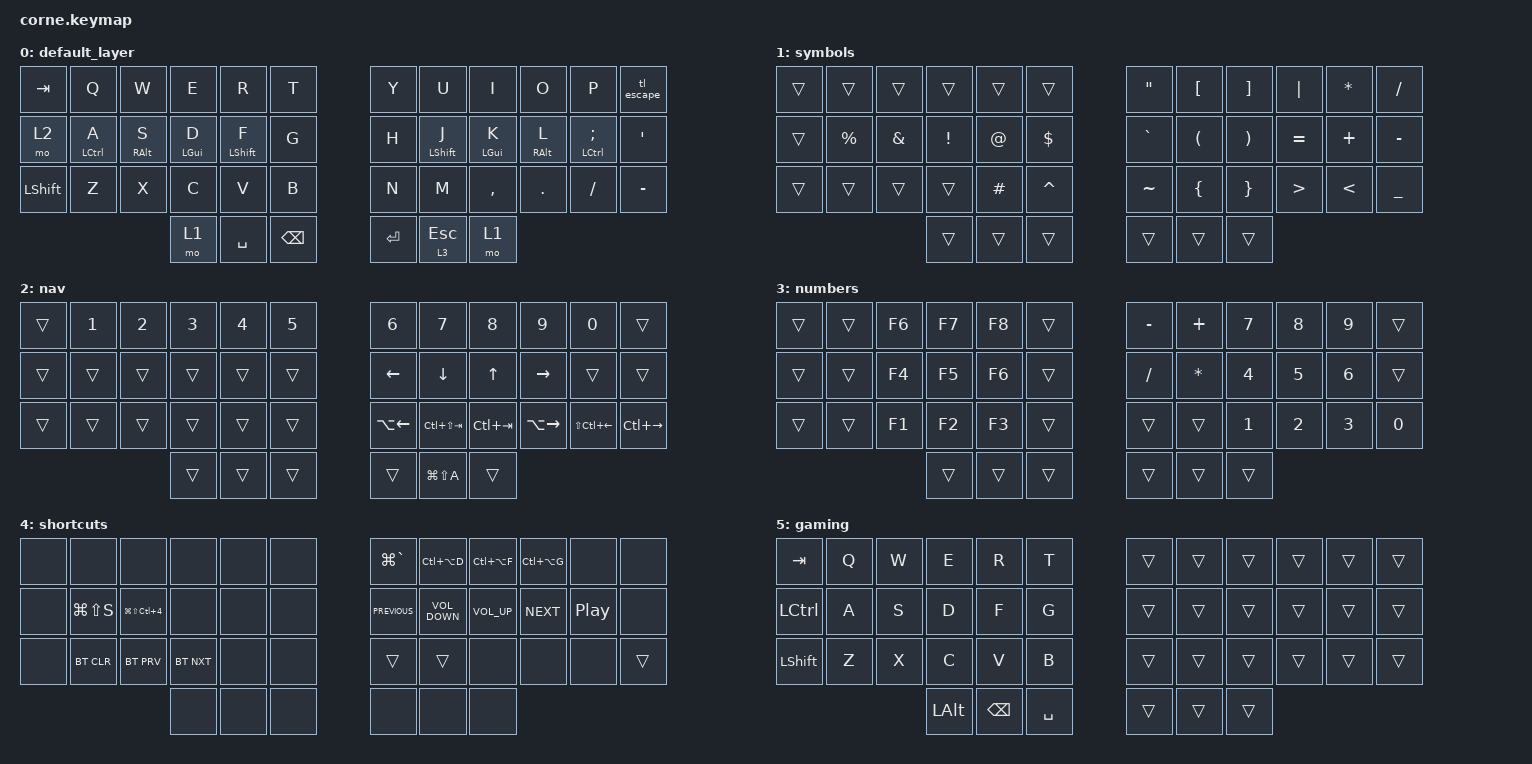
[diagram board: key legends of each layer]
/*
 * Copyright (c) 2020 The ZMK Contributors
 *
 * SPDX-License-Identifier: MIT
 */

#include <behaviors.dtsi>
#include <dt-bindings/zmk/bt.h>
#include <dt-bindings/zmk/keys.h>

/ {
    behaviors {
        hm: homerow_mods {
            compatible = "zmk,behavior-hold-tap";
            #binding-cells = <2>;
            tapping-term-ms = <200>;
            quick-tap-ms = <150>;
            flavor = "tap-preferred";
            bindings = <&kp>, <&kp>;

            require-prior-idle-ms = <150>;
        };

        tl_escape: tl_escape {
            compatible = "zmk,behavior-mod-morph";
            label = "TL_ESCAPE";
            bindings = <&kp ESCAPE>, <&tog 5>;

            #binding-cells = <0>;
            mods = <(MOD_LSFT)>;
        };

        ht_thumbs: ht_thumbs {
            compatible = "zmk,behavior-hold-tap";
            #binding-cells = <2>;
            tapping-term-ms = <200>;
            quick-tap-ms = <150>;
            flavor = "tap-preferred";
            bindings = <&kp>, <&kp>;

            require-prior-idle-ms = <150>;
            label = "HT_THUMBS";
        };

        htmo_thumbs: htmo_thumbs {
            compatible = "zmk,behavior-hold-tap";
            #binding-cells = <2>;
            tapping-term-ms = <150>;
            quick-tap-ms = <100>;
            flavor = "tap-preferred";
            bindings = <&mo>, <&kp>;

            require-prior-idle-ms = <150>;
            label = "HTMO_THUMBS";
        };
    };

    combos {
        compatible = "zmk,combos";

        combo_lp {
            bindings = <&kp LEFT_PARENTHESIS>;
            key-positions = <19 20>;
            require-prior-idle-ms = <100>;
            layers = <0>;
        };

        combo_rp {
            bindings = <&kp RIGHT_PARENTHESIS>;
            key-positions = <20 21>;
            require-prior-idle-ms = <100>;
            layers = <0>;
        };

        combo_lb {
            bindings = <&kp LEFT_BRACKET>;
            key-positions = <31 32>;
            require-prior-idle-ms = <100>;
            layers = <0>;
        };

        combo_rb {
            bindings = <&kp RIGHT_BRACKET>;
            key-positions = <32 33>;
            require-prior-idle-ms = <100>;
            layers = <0>;
        };

        combo_grave {
            bindings = <&kp GRAVE>;
            key-positions = <18 19>;
            require-prior-idle-ms = <100>;
            layers = <0>;
        };

        combo_equal {
            bindings = <&kp EQUAL>;
            key-positions = <19 31>;
            require-prior-idle-ms = <100>;
            layers = <0>;
        };

        combo_gt {
            bindings = <&kp GREATER_THAN>;
            key-positions = <32 20>;
            require-prior-idle-ms = <100>;
            layers = <0>;
        };

        combo_lt {
            bindings = <&kp LESS_THAN>;
            key-positions = <21 33>;
            require-prior-idle-ms = <100>;
            layers = <0>;
        };

        combo_dollar {
            bindings = <&kp DOLLAR>;
            key-positions = <6 7>;
            require-prior-idle-ms = <100>;
            layers = <0>;
        };

        combo_at {
            bindings = <&kp AT>;
            key-positions = <16 17>;
            require-prior-idle-ms = <100>;
            layers = <0>;
        };
    };

    keymap {
        compatible = "zmk,keymap";

        default_layer {
            bindings = <
&kp TAB         &kp Q        &kp W       &kp E           &kp R             &kp T            &kp Y    &kp U                  &kp I           &kp O            &kp P                  &tl_escape
&mo 2           &hm LCTRL A  &hm RALT S  &hm LEFT_GUI D  &hm LEFT_SHIFT F  &kp G            &kp H    &hm LEFT_SHIFT J       &hm LEFT_GUI K  &hm RIGHT_ALT L  &hm LEFT_CONTROL SEMI  &kp SQT
&kp LEFT_SHIFT  &kp Z        &kp X       &kp C           &kp V             &kp B            &kp N    &kp M                  &kp COMMA       &kp DOT          &kp FSLH               &kp MINUS
                                         &mo 1           &kp SPACE         &kp BACKSPACE    &kp RET  &htmo_thumbs 3 ESCAPE  &mo 1
            >;
        };

        symbols {
            bindings = <
&trans  &trans       &trans    &trans    &trans    &trans       &kp DOUBLE_QUOTES  &kp LBKT  &kp RBKT  &kp PIPE          &kp ASTRK      &kp FSLH
&trans  &kp PERCENT  &kp AMPS  &kp EXCL  &kp AT    &kp DLLR     &kp GRAVE          &kp LPAR  &kp RPAR  &kp EQUAL         &kp PLUS       &kp MINUS
&trans  &trans       &trans    &trans    &kp HASH  &kp CARET    &kp TILDE          &kp LBRC  &kp RBRC  &kp GREATER_THAN  &kp LESS_THAN  &kp UNDER
                               &trans    &trans    &trans       &trans             &trans    &trans
            >;
        };

        nav {
            bindings = <
&trans  &kp NUMBER_1  &kp NUMBER_2  &kp NUMBER_3  &kp NUMBER_4  &kp N5    &kp NUMBER_6        &kp N7           &kp N8       &kp N9               &kp N0                  &trans
&trans  &trans        &trans        &trans        &trans        &trans    &kp LEFT            &kp DOWN         &kp UP       &kp RIGHT            &trans                  &trans
&trans  &trans        &trans        &trans        &trans        &trans    &kp LA(LEFT_ARROW)  &kp LC(LS(TAB))  &kp LC(TAB)  &kp LA(RIGHT_ARROW)  &kp LS(LC(LEFT_ARROW))  &kp LC(RIGHT_ARROW)
                                    &trans        &trans        &trans    &trans              &kp LG(LS(A))    &trans
            >;
        };

        numbers {
            bindings = <
&trans  &trans  &kp F6  &kp F7  &kp F8  &trans    &kp MINUS  &kp PLUS   &kp N7        &kp N8        &kp N9        &trans
&trans  &trans  &kp F4  &kp F5  &kp F6  &trans    &kp SLASH  &kp ASTRK  &kp NUMBER_4  &kp N5        &kp NUMBER_6  &trans
&trans  &trans  &kp F1  &kp F2  &kp F3  &trans    &trans     &trans     &kp NUMBER_1  &kp NUMBER_2  &kp NUMBER_3  &kp N0
                        &trans  &trans  &trans    &trans     &trans     &trans
            >;
        };

        shortcuts {
            bindings = <
&none  &none          &none                     &none       &none  &none    &kp LG(GRAVE)   &kp LC(LA(D))      &kp LC(LA(F))    &kp LC(LA(G))  &none     &none
&none  &kp LG(LS(S))  &kp LG(LS(LC(NUMBER_4)))  &none       &none  &none    &kp C_PREVIOUS  &kp C_VOLUME_DOWN  &kp C_VOLUME_UP  &kp C_NEXT     &kp C_PP  &none
&none  &bt BT_CLR     &bt BT_PRV                &bt BT_NXT  &none  &none    &trans          &trans             &none            &none          &none     &trans
                                                &none       &none  &none    &none           &none              &none
            >;
        };

        gaming {
            bindings = <
&kp TAB         &kp Q  &kp W  &kp E         &kp R          &kp T        &trans  &trans  &trans  &trans  &trans  &trans
&kp LCTRL       &kp A  &kp S  &kp D         &kp F          &kp G        &trans  &trans  &trans  &trans  &trans  &trans
&kp LEFT_SHIFT  &kp Z  &kp X  &kp C         &kp V          &kp B        &trans  &trans  &trans  &trans  &trans  &trans
                              &kp LEFT_ALT  &kp BACKSPACE  &kp SPACE    &trans  &trans  &trans
            >;
        };
    };

    conditional_layers {
        compatible = "zmk,conditional-layers";

        cond_shortcuts {
            if-layers = <1 2>;
            then-layer = <4>;
        };
    };
};
